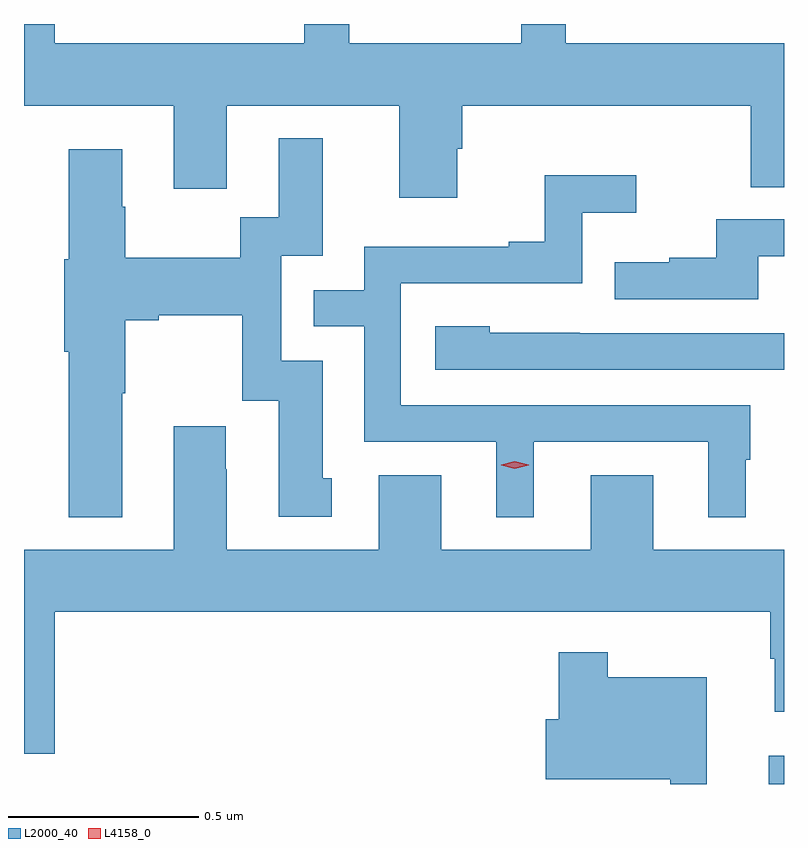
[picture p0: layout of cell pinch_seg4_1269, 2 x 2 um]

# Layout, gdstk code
import gdstk
lib = gdstk.Library(unit=1e-6, precision=1e-09)
def R(c, l, rs):  # rectangles x0, y0, x1, y1
    for r in rs: c.add(gdstk.rectangle(r[:2], r[2:], *l))
def P(c, l, *ps):  # polygons
    for p in ps: c.add(gdstk.Polygon(p, *l))
L2000_40 = (2000, 40)
L4158_0 = (4158, 0)

pinch_seg4_1269 = lib.new_cell('pinch_seg4_1269')
R(pinch_seg4_1269, L2000_40, [(155.063,812.351,155.103,812.425)])
P(pinch_seg4_1269, L2000_40, [(154.243,814.023),(154.256,814.023),(154.256,814.136),(155.016,814.136),(155.016,813.922),(155.103,813.922),(155.103,814.3),(154.529,814.3),(154.529,814.351),(154.412,814.351),(154.412,814.3),(153.959,814.3),(153.959,814.351),(153.841,814.351),(153.841,814.3),(153.184,814.3),(153.184,814.351),(153.103,814.351),(153.103,814.136),(153.497,814.136),(153.497,813.918),(153.637,813.918),(153.637,814.136),(154.091,814.136),(154.091,813.894),(154.243,813.894)],
  [(153.361,813.379),(153.369,813.379),(153.369,813.572),(153.457,813.572),(153.457,813.584),(153.677,813.584),(153.677,813.36),(153.773,813.36),(153.773,813.054),(153.913,813.054),(153.913,813.156),(153.889,813.156),(153.889,813.465),(153.78,813.465),(153.78,813.741),(153.889,813.741),(153.889,814.051),(153.773,814.051),(153.773,813.842),(153.672,813.842),(153.672,813.736),(153.369,813.736),(153.369,813.87),(153.361,813.87),(153.361,814.021),(153.221,814.021),(153.221,813.732),(153.209,813.732),(153.209,813.488),(153.221,813.488),(153.221,813.053),(153.361,813.053)],
  [(154.444,813.252),(154.904,813.252),(154.904,813.053),(155.002,813.053),(155.002,813.204),(155.014,813.204),(155.014,813.348),(154.095,813.348),(154.095,813.669),(154.572,813.669),(154.572,813.854),(154.714,813.854),(154.714,813.953),(154.474,813.953),(154.474,813.778),(154.379,813.778),(154.379,813.765),(153.999,813.765),(153.999,813.651),(153.865,813.651),(153.865,813.555),(153.999,813.555),(153.999,813.252),(154.346,813.252),(154.346,813.053),(154.444,813.053)],
  [(155.035,813.74),(155.103,813.74),(155.103,813.837),(154.925,813.837),(154.925,813.736),(154.801,813.736),(154.801,813.724),(154.657,813.724),(154.657,813.627),(155.035,813.627)],
  [(155.103,813.537),(154.565,813.537),(154.565,813.538),(154.329,813.538),(154.329,813.556),(154.185,813.556),(154.185,813.441),(155.103,813.441)],
  [(153.184,812.804),(155.067,812.804),(155.067,812.681),(155.078,812.681),(155.078,812.541),(155.103,812.541),(155.103,812.968),(154.759,812.968),(154.759,813.163),(154.595,813.163),(154.595,812.968),(154.201,812.968),(154.201,813.163),(154.037,813.163),(154.037,812.968),(153.637,812.968),(153.637,813.179),(153.634,813.179),(153.634,813.292),(153.497,813.292),(153.497,812.968),(153.103,812.968),(153.103,812.43),(153.184,812.43)],
  [(154.9,812.632),(154.639,812.632),(154.639,812.698),(154.51,812.698),(154.51,812.521),(154.476,812.521),(154.476,812.363),(154.803,812.363),(154.803,812.351),(154.9,812.351)])
P(pinch_seg4_1269, L4158_0, [(154.395,813.181),(154.359,813.19),(154.359,813.191),(154.359,813.191),(154.395,813.201),(154.431,813.191),(154.431,813.191),(154.431,813.19)])

lib.write_gds('pinch_seg4_1269.gds')
